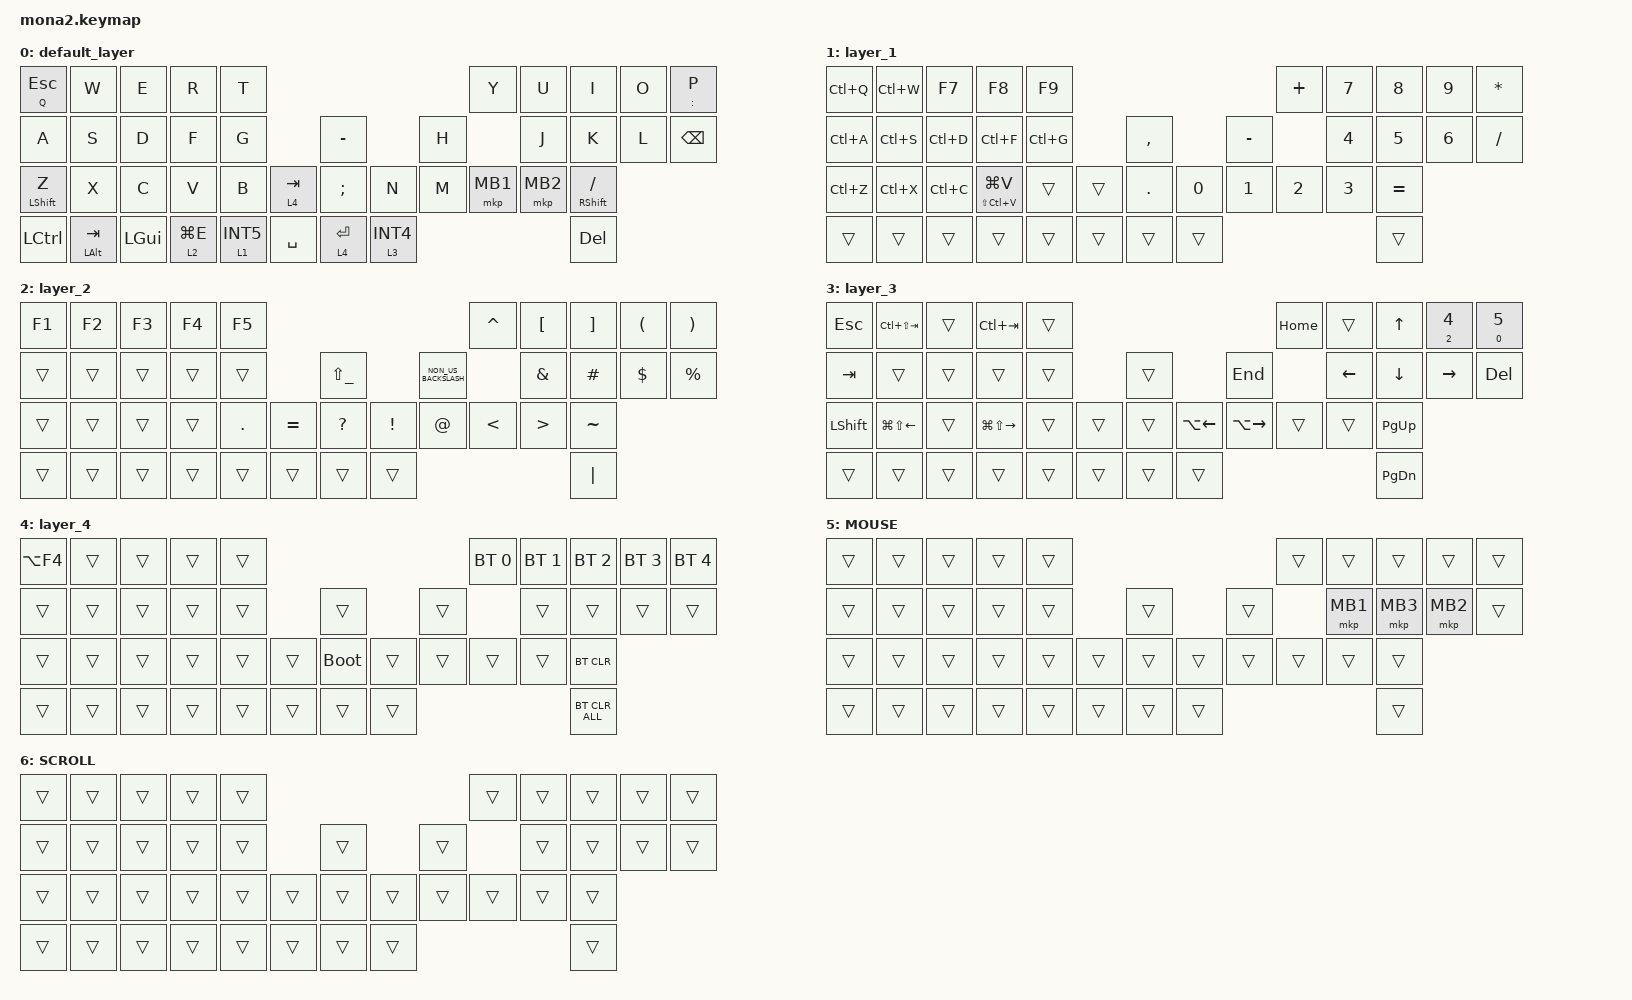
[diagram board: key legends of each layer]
#include <behaviors.dtsi>
#include <dt-bindings/zmk/bt.h>
#include <dt-bindings/zmk/keys.h>
#include <dt-bindings/zmk/pointing.h>

/* ========================================================================== */
/* 【修正】デフォルト設定との競合を解消した上下左右反転設定                        */
/* ========================================================================== */
#include <dt-bindings/zmk/input_transform.h>

&trackball_central_listener {
    // ベース側で既にY軸が反転しているため、キーマップ側からはX軸だけを反転させることで、
    // 結果的に「上下左右すべてが反転した状態」を作り出します。
    input-processors = <&zip_xy_transform INPUT_TRANSFORM_X_INVERT>;
};
/* ========================================================================== */

&mt {
    flavor = "balanced";
    quick-tap-ms = <0>;
};

/ {
    combos {
        compatible = "zmk,combos";

        /* コンボ設定：テンキーの「1」 */

        combo_kp1 {
            timeout-ms = <50>;
            key-positions = <8 9>;
            bindings = <&kp KP_N1>;
            layers = <0>;
        };
    };

    macros {
        to_layer_0: to_layer_0 {
            compatible = "zmk,behavior-macro-one-param";
            #binding-cells = <1>;
            bindings = <&to 0 &macro_param_1to1 &kp MACRO_PLACEHOLDER>;
            label = "TO_LAYER_0";
        };
    };

    behaviors {
        lt_to_layer_0: lt_to_layer_0 {
            compatible = "zmk,behavior-hold-tap";
            label = "LAYER_TAP_TO_0";
            bindings = <&mo>, <&to_layer_0>;

            #binding-cells = <2>;
            tapping-term-ms = <200>;
        };
    };

    keymap {
        compatible = "zmk,keymap";

        default_layer {
            bindings = <
&mt Q ESC         &kp W             &kp E         &kp R        &kp T                                                   &kp Y       &kp U  &kp I     &kp O     &mt COLON P
&kp A             &kp S             &kp D         &kp F        &kp G                      &kp MINUS                    &kp H       &kp J  &kp K     &kp L     &kp BACKSPACE
&mt LEFT_SHIFT Z  &kp X             &kp C         &kp V        &kp B       &lt 4 TAB      &kp SEMICOLON  &kp N       &kp M  &mkp MB1  &mkp MB2  &mt RIGHT_SHIFT SLASH
&kp LCTRL         &mt LEFT_ALT TAB  &kp LEFT_GUI  &lt 2 LG(E)  &lt 1 INT5  &kp SPACE      &lt 4 ENTER    &lt 3 INT4                               &kp DEL
            >;
        };

        layer_1 {
            bindings = <
&kp LC(Q)  &kp LC(W)  &kp F7     &kp F8               &kp F9                                           &kp PLUS   &kp N7  &kp N8  &kp N9  &kp ASTERISK
&kp LC(A)  &kp LC(S)  &kp LC(D)  &kp LC(F)            &kp LC(G)            &kp COMMA   &kp MINUS  &kp N4  &kp N5  &kp N6  &kp SLASH
&kp LC(Z)  &kp LC(X)  &kp LC(C)  &mt LS(LC(V)) LG(V)  &trans     &trans    &kp PERIOD  &kp N0     &kp N1  &kp N2  &kp N3  &kp EQUAL
&trans     &trans     &trans     &trans               &trans     &trans    &trans      &trans                                 &trans
            >;
        };

        layer_2 {
            bindings = <
&kp F1  &kp F2  &kp F3  &kp F4  &kp F5                                       &kp CARET             &kp LEFT_BRACKET  &kp RIGHT_BRACKET  &kp LEFT_PARENTHESIS  &kp RIGHT_PARENTHESIS
&trans  &trans  &trans  &trans  &trans                    &kp LS(UNDERSCORE)  &kp NON_US_BACKSLASH  &kp AMPERSAND     &kp HASH           &kp DOLLAR            &kp PERCENT
&trans  &trans  &trans  &trans  &kp PERIOD  &kp EQUAL    &kp QUESTION        &kp EXCLAMATION       &kp AT            &kp LESS_THAN      &kp GREATER_THAN      &kp TILDE
&trans  &trans  &trans  &trans  &trans      &trans       &trans              &trans                                                                           &kp PIPE
            >;
        };

        layer_3 {
            bindings = <
&kp ESCAPE      &kp LC(LS(TAB))         &trans  &kp LC(TAB)              &trans                    &kp HOME            &trans               &kp UP_ARROW    &mt N2 N4        &mt N0 N5
&kp TAB         &trans                  &trans  &trans                   &trans            &trans  &kp END             &kp LEFT_ARROW       &kp DOWN_ARROW  &kp RIGHT_ARROW  &kp DEL
&kp LEFT_SHIFT  &kp LG(LS(LEFT_ARROW))  &trans  &kp LG(LS(RIGHT_ARROW))  &trans  &trans    &trans  &kp LA(LEFT_ARROW)  &kp LA(RIGHT_ARROW)  &trans          &trans           &kp PAGE_UP
&trans          &trans                  &trans  &trans                   &trans  &trans    &trans  &trans                                                                    &kp PAGE_DOWN
            >;
        };

        layer_4 {
            bindings = <
&kp LA(F4)  &trans  &trans  &trans  &trans                         &bt BT_SEL 0  &bt BT_SEL 1  &bt BT_SEL 2  &bt BT_SEL 3  &bt BT_SEL 4
&trans      &trans  &trans  &trans  &trans            &trans       &trans        &trans        &trans        &trans        &trans
&trans      &trans  &trans  &trans  &trans  &trans    &bootloader  &trans        &trans        &trans        &trans        &bt BT_CLR
&trans      &trans  &trans  &trans  &trans  &trans    &trans       &trans                                                  &bt BT_CLR_ALL
            >;
        };

        MOUSE {
            bindings = <
&trans  &trans  &trans  &trans  &trans                    &trans  &trans    &trans    &trans    &trans
&trans  &trans  &trans  &trans  &trans            &trans  &trans  &mkp MB1  &mkp MB3  &mkp MB2  &trans
&trans  &trans  &trans  &trans  &trans  &trans    &trans  &trans  &trans    &trans    &trans    &trans
&trans  &trans  &trans  &trans  &trans  &trans    &trans  &trans                                &trans
            >;
        };

        SCROLL {
            bindings = <
&trans  &trans  &trans  &trans  &trans                    &trans  &trans  &trans  &trans  &trans
&trans  &trans  &trans  &trans  &trans            &trans  &trans  &trans  &trans  &trans  &trans
&trans  &trans  &trans  &trans  &trans  &trans    &trans  &trans  &trans  &trans  &trans  &trans
&trans  &trans  &trans  &trans  &trans  &trans    &trans  &trans                          &trans
            >;
        };
    };
};
